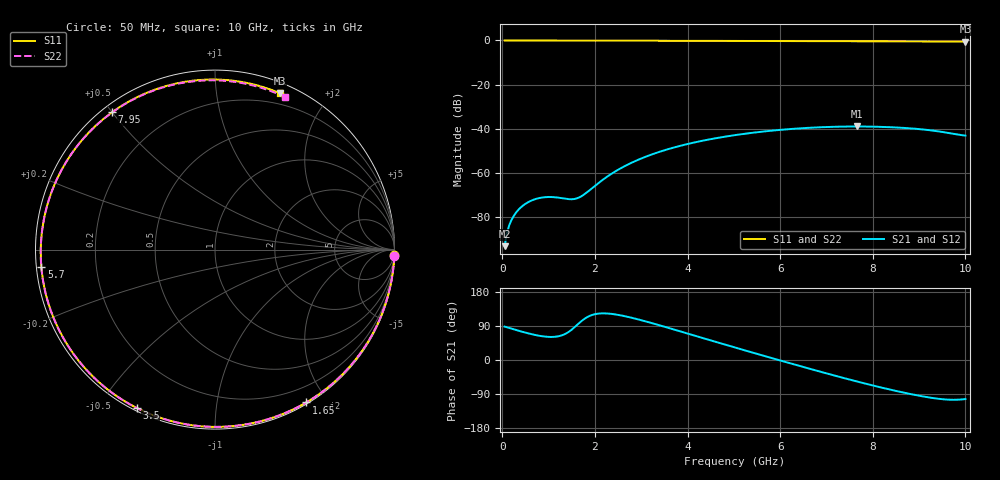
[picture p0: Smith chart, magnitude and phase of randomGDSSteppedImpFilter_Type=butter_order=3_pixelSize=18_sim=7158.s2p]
! freq	dB(S11)	phase(S11)	dB(S12)	phase(S12)
!  dB(S21)	phase(S21)	dB(S22)	phase(S22)
!S-par simulation data
#  GHz  S  DB  R 50
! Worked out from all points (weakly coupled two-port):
!   200 points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, 50 MHz to 10 GHz, reference 50 ohm
!   highest |S21| = -38.88 dB at 7.65 GHz (marker M1); lowest = -93.0 dB at 50 MHz (marker M2)
!   lowest |S11| = -0.5 dB at 10 GHz (marker M3), VSWR 34.17, Z = 4.75 + j74.8 ohm
!   |S11| at or under -10 dB: nowhere
!   |S22| runs from -0.6 to 0.0 dB; largest |S21 - S12| = 0
!   S11 on the Smith chart (normalised r, x): 50 MHz: 0, -61; 1.65 GHz: 0.02, -1.76; 3.5 GHz: 0.01, -0.62; 5.7 GHz: 0.01, -0.05; 7.95 GHz: 0.03, +0.50; 10 GHz: 0.09, +1.50
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0.05  -0.00 -1.9  -92.97 88.2  -92.97 88.2  -0.00 -1.9
0.2  -0.01 -7.4  -81.06 82.7  -81.06 82.7  -0.01 -7.7
0.45  -0.02 -16.6  -74.57 73.9  -74.57 73.9  -0.02 -17.2
0.75  -0.04 -27.6  -71.47 65.1  -71.47 65.1  -0.04 -28.5
1.05  -0.05 -38.3  -70.74 60.8  -70.74 60.8  -0.05 -39.6
1.5  -0.07 -54.0  -71.76 80.2  -71.76 80.2  -0.07 -55.7
1.65  -0.07 -59.1  -71.03 96.4  -71.03 96.4  -0.07 -61.0
1.75  -0.08 -62.5  -69.84 106.5  -69.84 106.5  -0.08 -64.4
2.2  -0.09 -77.3  -62.50 123.1  -62.50 123.1  -0.10 -79.5
2.55  -0.11 -88.3  -57.85 118.0  -57.85 118.0  -0.11 -90.7
2.95  -0.12 -100.4  -53.78 106.7  -53.78 106.7  -0.12 -102.9
3.4  -0.13 -113.5  -50.29 91.4  -50.29 91.4  -0.14 -116.2
3.5  -0.14 -116.3  -49.63 87.9  -49.63 87.9  -0.14 -119.0
4.3  -0.17 -138.2  -45.42 59.0  -45.42 59.0  -0.17 -141.0
5.05  -0.21 -157.8  -42.71 32.1  -42.71 32.1  -0.21 -160.5
5.7  -0.24 -174.4  -41.02 9.2  -41.02 9.2  -0.25 -177.0
6.7  -0.31 160.0  -39.39 -25.2  -39.39 -25.2  -0.31 157.6
7.65  -0.37 135.1  -38.88 -56.4  -38.88 -56.4  -0.38 132.8
7.95  -0.39 126.9  -38.94 -65.7  -38.94 -65.7  -0.41 124.6
8.35  -0.41 115.8  -39.18 -77.4  -39.18 -77.4  -0.44 113.6
9.2  -0.46 91.3  -40.49 -98.6  -40.49 -98.6  -0.51 89.1
10  -0.51 67.4  -43.02 -103.1  -43.02 -103.1  -0.59 65.1
